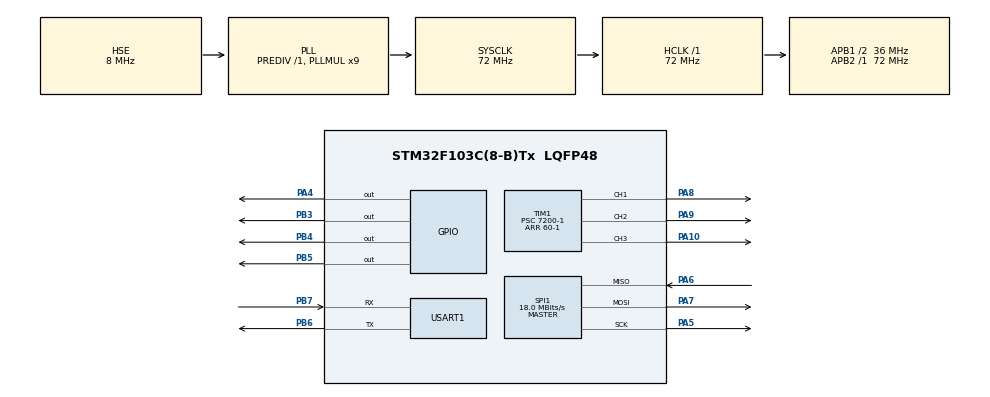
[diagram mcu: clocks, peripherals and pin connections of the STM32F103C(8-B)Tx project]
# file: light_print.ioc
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Mcu.Family=STM32F1
Mcu.Name=STM32F103C(8-B)Tx
Mcu.Package=LQFP48
NVIC.PriorityGroup=NVIC_PRIORITYGROUP_4
NVIC.TIM1_UP_IRQn=true\:12\:0\:true\:false\:true\:true\:true\:true
NVIC.USART1_IRQn=true\:4\:0\:true\:false\:true\:true\:true\:true
PA10.Signal=S_TIM1_CH3
PA13.Mode=Serial_Wire
PA13.Signal=SYS_JTMS-SWDIO
PA14.Mode=Serial_Wire
PA14.Signal=SYS_JTCK-SWCLK
PA4.Signal=GPIO_Output
PA5.Mode=Full_Duplex_Master
PA5.Signal=SPI1_SCK
PA6.Mode=Full_Duplex_Master
PA6.Signal=SPI1_MISO
PA7.Mode=Full_Duplex_Master
PA7.Signal=SPI1_MOSI
PA8.Signal=S_TIM1_CH1
PA9.Signal=S_TIM1_CH2
PB3.Signal=GPIO_Output
PB4.Signal=GPIO_Output
PB5.Signal=GPIO_Output
PB6.Mode=Asynchronous
PB6.Signal=USART1_TX
PB7.Mode=Asynchronous
PB7.Signal=USART1_RX
PD0-OSC_IN.Mode=HSE-External-Oscillator
PD0-OSC_IN.Signal=RCC_OSC_IN
PD1-OSC_OUT.Mode=HSE-External-Oscillator
PD1-OSC_OUT.Signal=RCC_OSC_OUT
ProjectManager.HeapSize=0x200
ProjectManager.StackSize=0x2000
ProjectManager.TargetToolchain=MDK-ARM V5.32
RCC.AHBFreq_Value=72000000
RCC.APB1CLKDivider=RCC_HCLK_DIV2
RCC.APB1Freq_Value=36000000
RCC.APB1TimFreq_Value=72000000
RCC.APB2Freq_Value=72000000
RCC.APB2TimFreq_Value=72000000
RCC.HCLKFreq_Value=72000000
RCC.PLLMUL=RCC_PLL_MUL9
RCC.PLLSourceVirtual=RCC_PLLSOURCE_HSE
RCC.SYSCLKFreq_VALUE=72000000
RCC.SYSCLKSource=RCC_SYSCLKSOURCE_PLLCLK
RCC.USBFreq_Value=72000000
SH.S_TIM1_CH1.0=TIM1_CH1,PWM Generation1 CH1
SH.S_TIM1_CH2.0=TIM1_CH2,PWM Generation2 CH2
SH.S_TIM1_CH3.0=TIM1_CH3,PWM Generation3 CH3
SPI1.BaudRatePrescaler=SPI_BAUDRATEPRESCALER_4
SPI1.CalculateBaudRate=18.0 MBits/s
SPI1.Direction=SPI_DIRECTION_2LINES
SPI1.Mode=SPI_MODE_MASTER
SPI1.VirtualType=VM_MASTER
TIM1.Channel-PWM\ Generation1\ CH1=TIM_CHANNEL_1
TIM1.Channel-PWM\ Generation2\ CH2=TIM_CHANNEL_2
TIM1.Channel-PWM\ Generation3\ CH3=TIM_CHANNEL_3
TIM1.Period=60-1
TIM1.Prescaler=7200-1
TIM1.Pulse-PWM\ Generation1\ CH1=40
TIM1.Pulse-PWM\ Generation2\ CH2=40
TIM1.Pulse-PWM\ Generation3\ CH3=150
USART1.VirtualMode=VM_ASYNC
VP_FATFS_VS_Generic.Mode=User_defined
VP_TIM1_VS_ClockSourceINT.Mode=Internal
board=custom

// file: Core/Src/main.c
/* USER CODE BEGIN Header */
/**
  ******************************************************************************
  * @file           : main.c
  * @brief          : Main program body
  ******************************************************************************
  * @attention
  *
  * Copyright (c) 2025 STMicroelectronics.
  * All rights reserved.
  *
  * This software is licensed under terms that can be found in the LICENSE file
  * in the root directory of this software component.
  * If no LICENSE file comes with this software, it is provided AS-IS.
  *
  ******************************************************************************
  */
/* USER CODE END Header */
#include "main.h"
#include "fatfs.h"
#include "spi.h"
#include "tim.h"
#include "usart.h"
#include "gpio.h"

/* USER CODE BEGIN Includes */

#include <stdio.h>
#include <string.h>

/* USER CODE END Includes */

/* USER CODE BEGIN PD */
#define X_STEP 20
#define Y_STEP 20
#define X_MAX (4440 / X_STEP)
#define Y_MAX (4440 / Y_STEP)
/* USER CODE END PD */

void SystemClock_Config(void);

/* USER CODE BEGIN 0 */

FATFS fs;
FIL fil;
uint8_t rv;
volatile uint8_t usart_flag = 0;
volatile uint8_t x_motor_flag=0, y_motor_flag=0;
uint16_t wh[2];
volatile uint32_t x_go_step, y_go_step;
uint32_t x_steps, y_steps;
uint32_t fnum;
uint32_t buf_size;
char buf[1024];
uint8_t line[500];

void x_go(uint32_t steps /* steps */, uint8_t dir /* 0: forward 1: backward */)
{
	if (0 == dir)
	{
		if (X_MAX == x_steps) return ;
		x_steps += steps;
		HAL_GPIO_WritePin(GPIOB, GPIO_PIN_4, GPIO_PIN_RESET);
	}
	else
	{
		if (0 == x_steps) return ;
		x_steps -= steps;
		HAL_GPIO_WritePin(GPIOB, GPIO_PIN_4, GPIO_PIN_SET);
	}

	x_go_step = steps * X_STEP;

//	HAL_GPIO_WritePin(GPIOB, GPIO_PIN_3, GPIO_PIN_RESET);
	HAL_TIM_PWM_Start(&htim1, TIM_CHANNEL_1);
	while (0 == x_motor_flag);
	x_motor_flag = 0;
//	HAL_GPIO_WritePin(GPIOB, GPIO_PIN_3, GPIO_PIN_SET);
}

void y_go(uint32_t steps, uint8_t dir)
{
	if (0 == dir)
	{
		if (Y_MAX == y_steps) return ;
		y_steps += steps;
		HAL_GPIO_WritePin(GPIOB, GPIO_PIN_5, GPIO_PIN_RESET);
	}
	else
	{
		if (0 == y_steps) return ;
		y_steps -= steps;
		HAL_GPIO_WritePin(GPIOB, GPIO_PIN_5, GPIO_PIN_SET);
	}

	y_go_step = steps * Y_STEP;

//	HAL_GPIO_WritePin(GPIOB, GPIO_PIN_3, GPIO_PIN_RESET);
	HAL_TIM_PWM_Start(&htim1, TIM_CHANNEL_2);
	while (0 == y_motor_flag);
	y_motor_flag = 0;
//	HAL_GPIO_WritePin(GPIOB, GPIO_PIN_3, GPIO_PIN_SET);
}

/* USER CODE END 0 */

int main(void)
{

  /* MCU Configuration--------------------------------------------------------*/

  /* Reset of all peripherals, Initializes the Flash interface and the Systick. */
  HAL_Init();

  /* Configure the system clock */
  SystemClock_Config();

  /* Initialize all configured peripherals */
  MX_GPIO_Init();
  MX_SPI1_Init();
  MX_TIM1_Init();
  MX_USART1_UART_Init();
  MX_FATFS_Init();
  /* USER CODE BEGIN 2 */

	__HAL_TIM_DISABLE_IT(&htim1, TIM_IT_UPDATE);

	HAL_GPIO_WritePin(GPIOB, GPIO_PIN_3, GPIO_PIN_RESET);

	rv = f_mount(&fs, "", 1);

//	__HAL_TIM_ENABLE_IT(&htim1, TIM_IT_UPDATE); // test
//	x_steps = X_STEP; // test
//	HAL_GPIO_WritePin(GPIOB, GPIO_PIN_3, GPIO_PIN_RESET); // test
  /* USER CODE END 2 */

  /* Infinite loop */
  /* USER CODE BEGIN WHILE */
  while (1)
  {
		outer_loop :
//		y_go(1, 0); // test
		HAL_UART_Transmit(&huart1, (uint8_t *)"ENTER FILE NAME\n", 16, HAL_MAX_DELAY);
		HAL_UARTEx_ReceiveToIdle_IT(&huart1, (uint8_t *)buf, 1023);
		while (0 == usart_flag);
		usart_flag = 0;

		if (0 == strncmp("modify_light", buf, 12))
		{
			HAL_TIM_PWM_Start(&htim1, TIM_CHANNEL_3);

			while (1)
			{
				HAL_UARTEx_ReceiveToIdle_IT(&huart1, (uint8_t *)buf, 1023);

				if (0 == strncmp("quit_light", buf, 10))
				{
					goto outer_loop;
				}
			}
		}

		HAL_UART_Transmit(&huart1, (uint8_t *)buf, buf_size, HAL_MAX_DELAY);

		rv = f_open(&fil, buf, FA_READ);
		switch (rv)
		{
			case FR_NO_FILE :
				HAL_UART_Transmit(&huart1, (uint8_t *)"No such file!\n", 14, HAL_MAX_DELAY);
				break;
			case FR_OK :
				break;
			default :
				HAL_UART_Transmit(&huart1, (uint8_t *)"SOME ERROR, check link then restart\n", 36, HAL_MAX_DELAY);
				while (1);
		}

		f_read(&fil, wh, sizeof(uint16_t) * 2, &fnum);

		if (X_MAX < wh[0] || Y_MAX < wh[1])
		{
			fnum = sprintf(buf, "%hd %hd too big, can't print\n", wh[0], wh[1]);
			HAL_UART_Transmit(&huart1, (uint8_t *)buf, fnum, HAL_MAX_DELAY);
			continue;
		}

		fnum = sprintf((char *)line, "%s width and height : %hd %hd\r\n[Y/N]*\r\n", buf, wh[0], wh[1]);
		HAL_UART_Transmit(&huart1, line, fnum, HAL_MAX_DELAY);
		HAL_UARTEx_ReceiveToIdle_IT(&huart1, (uint8_t *)buf, 1023);
		while (0 == usart_flag);
		usart_flag = 0;
		if ('Y' != buf[0]) continue;
		HAL_UART_Transmit(&huart1, (uint8_t *)"LET'S GO!!!!\r\n", 14, HAL_MAX_DELAY);

		__HAL_TIM_ENABLE_IT(&htim1, TIM_IT_UPDATE);
		HAL_GPIO_WritePin(GPIOB, GPIO_PIN_3, GPIO_PIN_RESET);
		for (int i = 0; i < wh[1]; ++i)
		{
			f_read(&fil, line, wh[0] * sizeof(uint8_t), &fnum);

			for (int j = 0; j < wh[0]; ++j)
			{
				if (line[j])
				{
					HAL_TIM_PWM_Start(&htim1, TIM_CHANNEL_3);
				}
				x_go(1, 0);
				HAL_TIM_PWM_Stop(&htim1, TIM_CHANNEL_3);
			}

			for (int j = wh[0]-1; 0 <= j; --j)
			{
				if (line[j])
				{
					HAL_TIM_PWM_Start(&htim1, TIM_CHANNEL_3);
				}
				x_go(1, 1);
				HAL_TIM_PWM_Stop(&htim1, TIM_CHANNEL_3);
			}
			y_go(1, 0);
		}
		y_go(y_steps, 1);
		__HAL_TIM_DISABLE_IT(&htim1, TIM_IT_UPDATE);
		HAL_GPIO_WritePin(GPIOB, GPIO_PIN_3, GPIO_PIN_SET);

		f_close(&fil);
    /* USER CODE END WHILE */

  }
}

void SystemClock_Config(void)
{
  RCC_OscInitTypeDef RCC_OscInitStruct = {0};
  RCC_ClkInitTypeDef RCC_ClkInitStruct = {0};

  /** Initializes the RCC Oscillators according to the specified parameters
  * in the RCC_OscInitTypeDef structure.
  */
  RCC_OscInitStruct.OscillatorType = RCC_OSCILLATORTYPE_HSE;
  RCC_OscInitStruct.HSEState = RCC_HSE_ON;
  RCC_OscInitStruct.HSEPredivValue = RCC_HSE_PREDIV_DIV1;
  RCC_OscInitStruct.HSIState = RCC_HSI_ON;
  RCC_OscInitStruct.PLL.PLLState = RCC_PLL_ON;
  RCC_OscInitStruct.PLL.PLLSource = RCC_PLLSOURCE_HSE;
  RCC_OscInitStruct.PLL.PLLMUL = RCC_PLL_MUL9;
  if (HAL_RCC_OscConfig(&RCC_OscInitStruct) != HAL_OK)
  {
    Error_Handler();
  }

  /** Initializes the CPU, AHB and APB buses clocks
  */
  RCC_ClkInitStruct.ClockType = RCC_CLOCKTYPE_HCLK|RCC_CLOCKTYPE_SYSCLK
                              |RCC_CLOCKTYPE_PCLK1|RCC_CLOCKTYPE_PCLK2;
  RCC_ClkInitStruct.SYSCLKSource = RCC_SYSCLKSOURCE_PLLCLK;
  RCC_ClkInitStruct.AHBCLKDivider = RCC_SYSCLK_DIV1;
  RCC_ClkInitStruct.APB1CLKDivider = RCC_HCLK_DIV2;
  RCC_ClkInitStruct.APB2CLKDivider = RCC_HCLK_DIV1;

  if (HAL_RCC_ClockConfig(&RCC_ClkInitStruct, FLASH_LATENCY_2) != HAL_OK)
  {
    Error_Handler();
  }
}

void Error_Handler(void)
{
  __disable_irq();
  while (1)
  {
  }
}
